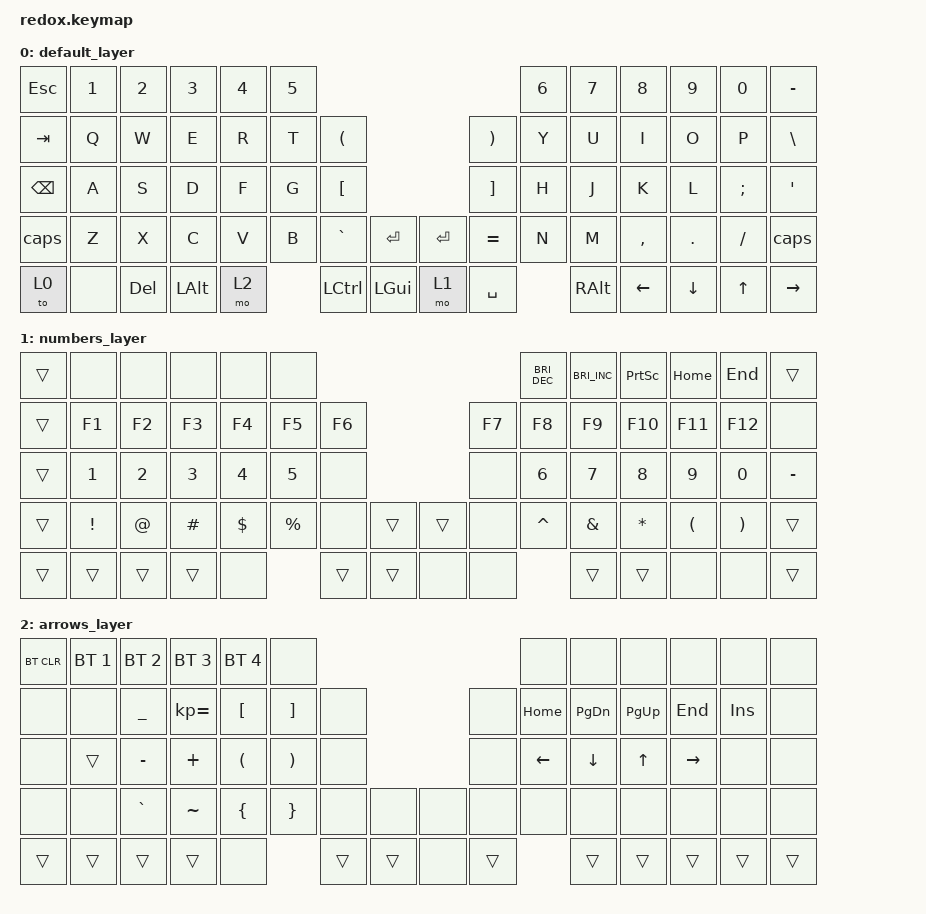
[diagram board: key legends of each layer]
/*
 * Copyright (c) 2021 The ZMK Contributors
 *
 * SPDX-License-Identifier: MIT
 */

#include <behaviors.dtsi>
#include <dt-bindings/zmk/keys.h>
#include <dt-bindings/zmk/bt.h>
#include <dt-bindings/zmk/ext_power.h>
#include <dt-bindings/zmk/outputs.h>

/ {
    behaviors {
        caps: caps {
            compatible = "zmk,behavior-tap-dance";
            #binding-cells = <0>;
            tapping-term-ms = <250>;
            bindings = <&kp LSHFT>, <&kp CAPS>;

            label = "caps";
        };

        ralt: ralt {
            compatible = "zmk,behavior-tap-dance";
            #binding-cells = <0>;
            tapping-term-ms = <250>;
            bindings = <&kp RIGHT_ALT>, <&kt RIGHT_ALT>;

            label = "ralt";
        };

        l_numbers: l_numbers {
            compatible = "zmk,behavior-tap-dance";
            #binding-cells = <0>;
            tapping-term-ms = <250>;
            bindings = <&mo 1>, <&to 1>, <&to 0>;

            label = "l_numbers";
        };

        ctrl: ctrl {
            compatible = "zmk,behavior-tap-dance";
            #binding-cells = <0>;
            tapping-term-ms = <250>;
            bindings = <&kp LCTRL>, <&kt LCTRL>;

            label = "CTR";
        };

        l_arrows: l_arrows {
            compatible = "zmk,behavior-tap-dance";
            #binding-cells = <0>;
            tapping-term-ms = <250>;
            bindings = <&mo 2>, <&to 2>, <&to 0>;

            label = "L_ARROWS";
        };

        hold: hold {
            compatible = "zmk,behavior-hold-tap";
            label = "HOLD";
            bindings = <&kp>, <&kp>;

            #binding-cells = <2>;
            hold-trigger-key-positions = <29>;
            tapping-term-ms = <200>;
        };
    };

    combos { compatible = "zmk,combos"; };

    keymap {
        compatible = "zmk,keymap";

        default_layer {
            bindings = <
&kp ESC        &kp N1  &kp N2   &kp N3    &kp N4  &kp N5                                                 &kp N6  &kp N7    &kp N8     &kp N9    &kp N0         &kp MINUS
&kp TAB        &kp Q   &kp W    &kp E     &kp R   &kp T   &kp LPAR                            &kp RPAR   &kp Y   &kp U     &kp I      &kp O     &kp P          &kp BACKSLASH
&kp BACKSPACE  &kp A   &kp S    &kp D     &kp F   &kp G   &kp LBKT                            &kp RBKT   &kp H   &kp J     &kp K      &kp L     &kp SEMICOLON  &kp SQT
&caps          &kp Z   &kp X    &kp C     &kp V   &kp B   &kp GRAVE  &kp ENTER    &kp RETURN  &kp EQUAL  &kp N   &kp M     &kp COMMA  &kp DOT   &kp FSLH       &caps
&to 0          &none   &kp DEL  &kp LALT  &mo 2           &kp LCTRL  &kp LGUI     &mo 1       &kp SPACE          &kp RALT  &kp LEFT   &kp DOWN  &kp UP         &kp RIGHT
            >;
        };

        numbers_layer {
            bindings = <
&trans  &none            &none        &none     &none       &none                                          &kp C_BRI_DEC  &kp C_BRIGHTNESS_INC  &kp PRINTSCREEN  &kp HOME              &kp END                &trans
&trans  &kp F1           &kp F2       &kp F3    &kp F4      &kp F5       &kp F6                    &kp F7  &kp F8         &kp F9                &kp F10          &kp F11               &kp F12                &none
&trans  &kp N1           &kp N2       &kp N3    &kp N4      &kp N5       &none                     &none   &kp N6         &kp N7                &kp N8           &kp N9                &kp N0                 &kp MINUS
&trans  &kp EXCLAMATION  &kp AT_SIGN  &kp HASH  &kp DOLLAR  &kp PERCENT  &none   &trans    &trans  &none   &kp CARET      &kp AMPERSAND         &kp ASTERISK     &kp LEFT_PARENTHESIS  &kp RIGHT_PARENTHESIS  &trans
&trans  &trans           &trans       &trans    &none                    &trans  &trans    &none   &none                  &trans                &trans           &none                 &none                  &trans
            >;
        };

        arrows_layer {
            bindings = <
&bt BT_CLR  &bt BT_SEL 1  &bt BT_SEL 2  &bt BT_SEL 3  &bt BT_SEL 4          &none                                                   &none     &none          &none        &none      &none    &none
&none       &none         &kp UNDER     &kp KP_EQUAL  &kp LEFT_BRACKET      &kp RIGHT_BRACKET      &none                    &none   &kp HOME  &kp PAGE_DOWN  &kp PAGE_UP  &kp END    &kp INS  &none
&none       &trans        &kp MINUS     &kp PLUS      &kp LEFT_PARENTHESIS  &kp RIGHT_PARENTHESIS  &none                    &none   &kp LEFT  &kp DOWN       &kp UP       &kp RIGHT  &none    &none
&none       &none         &kp GRAVE     &kp TILDE     &kp LEFT_BRACE        &kp RIGHT_BRACE        &none   &none     &none  &none   &none     &none          &none        &none      &none    &none
&trans      &trans        &trans        &trans        &none                                        &trans  &trans    &none  &trans            &trans         &trans       &trans     &trans   &trans
            >;
        };
    };
};

